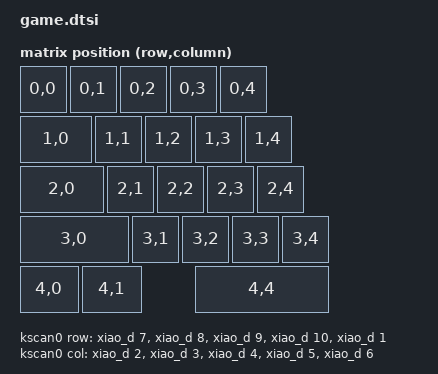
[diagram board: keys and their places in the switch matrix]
/*
 * Copyright (c) 2020 The ZMK Contributors
 *
 * SPDX-License-Identifier: MIT
 */

#include <dt-bindings/zmk/matrix_transform.h>
#include <physical_layouts.dtsi>
/ {
    chosen {
        zmk,kscan = &kscan0;
        zmk,physical-layout = &physical_layout0;
    };

    default_transform: keymap_transform_0 {
        compatible = "zmk,matrix-transform";
        columns = <5>;
        rows = <5>;
        map = <
    RC(0,0) RC(0,1) RC(0,2) RC(0,3) RC(0,4) 
    RC(1,0) RC(1,1) RC(1,2) RC(1,3) RC(1,4) 
    RC(2,0) RC(2,1) RC(2,2) RC(2,3) RC(2,4) 
    RC(3,0) RC(3,1) RC(3,2) RC(3,3) RC(3,4) 
    RC(4,0) RC(4,1)                 RC(4,4) 
            >;
    };

    kscan0: kscan_0 {
        compatible = "zmk,kscan-gpio-matrix";
        wakeup-source;

        diode-direction = "col2row";

        col-gpios
            = <&xiao_d 2 (GPIO_ACTIVE_HIGH | GPIO_PULL_DOWN)>
            , <&xiao_d 3 (GPIO_ACTIVE_HIGH | GPIO_PULL_DOWN)>
            , <&xiao_d 4 (GPIO_ACTIVE_HIGH | GPIO_PULL_DOWN)>
            , <&xiao_d 5 (GPIO_ACTIVE_HIGH | GPIO_PULL_DOWN)>
            , <&xiao_d 6 (GPIO_ACTIVE_HIGH | GPIO_PULL_DOWN)>
            ;

        row-gpios
            =  <&xiao_d 7 (GPIO_ACTIVE_HIGH | GPIO_PULL_DOWN)>
            , <&xiao_d 8 (GPIO_ACTIVE_HIGH | GPIO_PULL_DOWN)>
            , <&xiao_d 9 (GPIO_ACTIVE_HIGH | GPIO_PULL_DOWN)>
            , <&xiao_d 10 (GPIO_ACTIVE_HIGH | GPIO_PULL_DOWN)>
            , <&xiao_d 1 (GPIO_ACTIVE_HIGH | GPIO_PULL_DOWN)>
            ;
    };
    physical_layout0: physical_layout_0 {
        compatible = "zmk,physical-layout";
        display-name = "Default";

        kscan = <&kscan0>;
        transform = <&default_transform>;

              keys  //                     w   h    x    y     rot    rx    ry
            = <&key_physical_attrs 100 100    0    0       0     0     0>
            , <&key_physical_attrs 100 100  100    0       0     0     0>
            , <&key_physical_attrs 100 100  200    0       0     0     0>
            , <&key_physical_attrs 100 100  300    0       0     0     0>
            , <&key_physical_attrs 100 100  400    0       0     0     0>
            , <&key_physical_attrs 150 100    0  100       0     0     0>
            , <&key_physical_attrs 100 100  150  100       0     0     0>
            , <&key_physical_attrs 100 100  250  100       0     0     0>
            , <&key_physical_attrs 100 100  350  100       0     0     0>
            , <&key_physical_attrs 100 100  450  100       0     0     0>
            , <&key_physical_attrs 175 100    0  200       0     0     0>
            , <&key_physical_attrs 100 100  175  200       0     0     0>
            , <&key_physical_attrs 100 100  275  200       0     0     0>
            , <&key_physical_attrs 100 100  375  200       0     0     0>
            , <&key_physical_attrs 100 100  475  200       0     0     0>
            , <&key_physical_attrs 225 100    0  300       0     0     0>
            , <&key_physical_attrs 100 100  225  300       0     0     0>
            , <&key_physical_attrs 100 100  325  300       0     0     0>
            , <&key_physical_attrs 100 100  425  300       0     0     0>
            , <&key_physical_attrs 100 100  525  300       0     0     0>
            , <&key_physical_attrs 125 100    0  400       0     0     0>
            , <&key_physical_attrs 125 100  125  400       0     0     0>
            , <&key_physical_attrs 275 100  350  400       0     0     0>
            ;
    };

};
